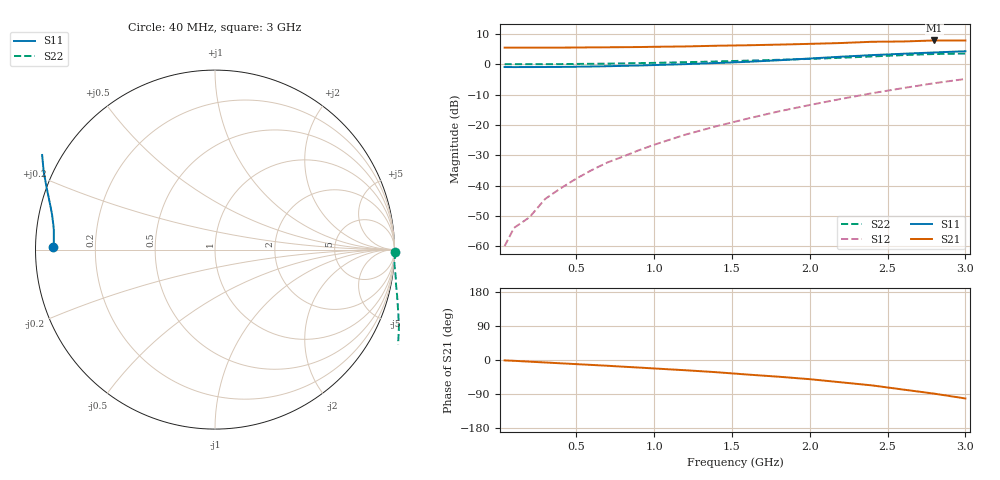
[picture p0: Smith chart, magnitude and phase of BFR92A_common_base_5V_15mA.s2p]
! Filename:  BFR92ACD.S2P  Version:  2.0
! Philips part #: BFR92A  Date: Jul 1990
! Bias condition: Vce=5V, Ic=15mA
! COMMON BASE
#  MHz  S  MA  R  50
! Freq  S11  S21  S12  S22
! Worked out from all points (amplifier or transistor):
!   21 points, 40 MHz to 3 GHz, reference 50 ohm
!   highest |S21| = 7.9 dB at 2.8 GHz (marker M1)
!   |S21| within 3 dB of that: start of sweep to end of sweep
!   unconditionally stable (mu >= 1): nowhere
!   at 300 MHz: K = -0.60, MSG = 25.0 dB, |S12| = -44.4 dB
!   at 1 GHz: K = -0.95, MSG = 16.2 dB, |S12| = -26.6 dB
!   at 3 GHz: K = -0.89, MSG = 6.3 dB, |S12| = -4.8 dB
40  0.901 179.2  1.885 -1.0  0.001 40.6  1.002 -0.7
100  0.899 178.0  1.883 -2.1  0.002 88.4  1.004 -1.4
200  0.9 176.3  1.882 -4.4  0.003 112.7  1.003 -3.0
300  0.902 174.5  1.881 -6.5  0.006 124.6  1.003 -4.6
400  0.905 172.9  1.885 -8.7  0.009 132.8  1.008 -6.1
500  0.912 171.1  1.89 -10.9  0.013 137.6  1.014 -7.6
600  0.92 169.5  1.902 -13.0  0.018 142.2  1.02 -9.1
700  0.929 167.8  1.908 -15.2  0.024 144.3  1.026 -10.7
800  0.942 166.0  1.916 -17.6  0.03 145.8  1.035 -12.3
900  0.955 164.4  1.925 -19.9  0.038 147.4  1.046 -14.1
1000  0.971 162.6  1.943 -22.3  0.047 148.2  1.056 -15.7
1200  1.006 159.2  1.97 -27.0  0.069 148.8  1.083 -19.4
1400  1.049 155.5  2.023 -32.2  0.095 147.3  1.114 -23.1
1600  1.098 151.3  2.06 -38.4  0.127 146.4  1.149 -27.4
1800  1.165 147.2  2.111 -44.1  0.167 143.8  1.187 -32.3
2000  1.246 142.9  2.173 -50.6  0.213 140.8  1.227 -38.0
2200  1.333 138.3  2.243 -58.8  0.268 137.2  1.28 -44.8
2400  1.418 133.0  2.352 -67.0  0.333 132.4  1.347 -52.4
2600  1.492 126.1  2.378 -78.0  0.405 127.2  1.418 -60.6
2800  1.568 117.6  2.473 -88.8  0.488 120.2  1.478 -69.2
3000  1.643 108.2  2.468 -101.5  0.573 113.1  1.504 -78.8
